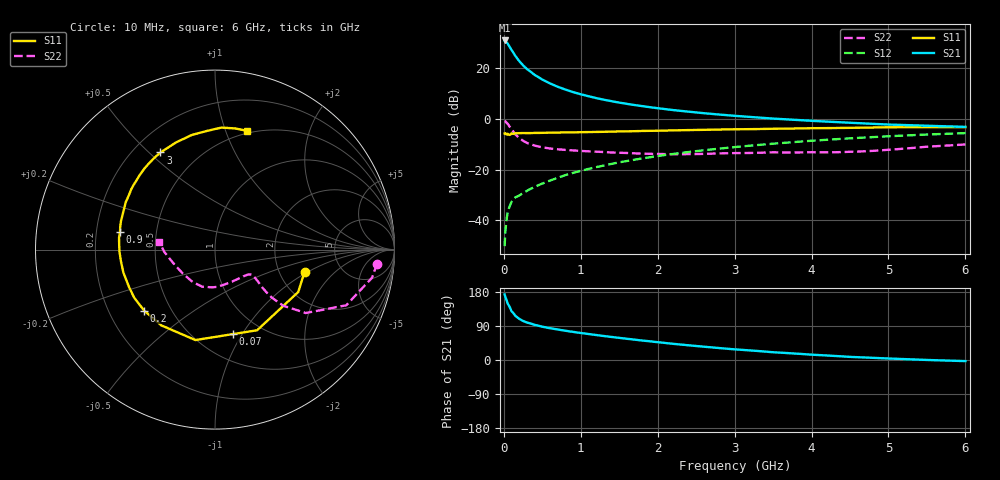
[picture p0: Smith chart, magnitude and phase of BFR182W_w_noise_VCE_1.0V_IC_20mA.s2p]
! Infineon Technologies  Discrete & RF Semiconductors
! BFR182W
! VCE =  1.0 V,  IC =  20 mA
! Common Emitter S-Parameters:  Jan 2017
# GHz  S  MA  R  50
!  f  S11  S21  S12  S22
! GHz  MAG  ANG  MAG  ANG  MAG  ANG  MAG  ANG
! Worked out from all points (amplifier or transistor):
!   77 points, 10 MHz to 6 GHz, reference 50 ohm
!   highest |S21| = 30.8 dB at 10 MHz (marker M1)
!   |S21| within 3 dB of that: start of sweep to 84.74 MHz
!   unconditionally stable (mu >= 1): 397.3 MHz to 3.363 GHz
!   at 130 MHz: K = 0.53, MSG = 28.7 dB, |S12| = -31.6 dB
!   at 2.2 GHz: K = 1.09, MAG = 6.8 dB, |S12| = -13.9 dB
!   at 6 GHz: K = 0.99, MSG = 1.2 dB, |S12| = -5.6 dB
!   lowest NFmin = 1.41 dB at 450 MHz
!   S11 on the Smith chart (normalised r, x): 10 MHz: 2.76, -0.93; 70 MHz: 0.74, -0.91; 200 MHz: 0.35, -0.33; 900 MHz: 0.30, +0.08; 3 GHz: 0.31, +0.54; 6 GHz: 0.48, +1.19
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0.01  0.5142 -13.9  34.81 173.1  0.0031 83.3  0.9069 -4.9
0.02  0.5205 -27.0  34.45 166.6  0.006 84.7  0.8887 -10.2
0.05  0.507 -62.4  30.26 148.8  0.0145 68.9  0.7943 -23.0
0.07  0.4812 -78.3  26.85 142.1  0.0179 63.2  0.7194 -27.1
0.1  0.5157 -102.2  22.69 128.5  0.0231 57.9  0.6159 -35.0
0.15  0.5174 -125.3  17.23 116.5  0.0283 54.2  0.4923 -39.4
0.2  0.5208 -139.2  13.66 108.7  0.0308 53.3  0.4166 -40.2
0.25  0.5239 -149.1  11.27 102.9  0.0345 54.7  0.3689 -39.6
0.3  0.5226 -156.1  9.531 98.9  0.0381 56.0  0.3348 -38.6
0.4  0.5262 -165.9  7.306 92.6  0.0455 60.0  0.2962 -36.5
0.5  0.5281 -173.0  5.898 87.9  0.053 62.1  0.274 -35.2
0.6  0.5322 -178.5  4.96 83.9  0.0607 64.1  0.2596 -34.4
0.7  0.5346 177.1  4.271 80.5  0.0688 65.8  0.2504 -34.2
0.9  0.5385 169.4  3.349 74.2  0.086 67.1  0.2382 -35.5
1.1  0.5476 162.8  2.777 68.6  0.1029 68.0  0.2286 -37.9
1.5  0.5632 152.0  2.079 58.4  0.1387 67.1  0.214 -45.7
2.1  0.5855 137.4  1.547 44.9  0.1936 63.7  0.2014 -63.5
3  0.6207 119.3  1.143 28.1  0.2769 56.3  0.2109 -93.9
3.1  0.6223 117.4  1.115 26.7  0.2859 55.3  0.2113 -96.9
4.1  0.6529 99.9  0.895 13.0  0.3772 45.1  0.2184 -128.4
5.1  0.6808 85.7  0.761 3.2  0.4595 34.0  0.251 -165.7
6  0.6848 75.1  0.692 -2.9  0.522 24.0  0.3125 172.6
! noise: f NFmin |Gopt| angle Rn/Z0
0.45  1.41  0.11  -176  0.15
0.9  1.49  0.11  -171  0.15
1.9  2  0.28  -142  0.16
2.4  2.26  0.29  -128  0.26
